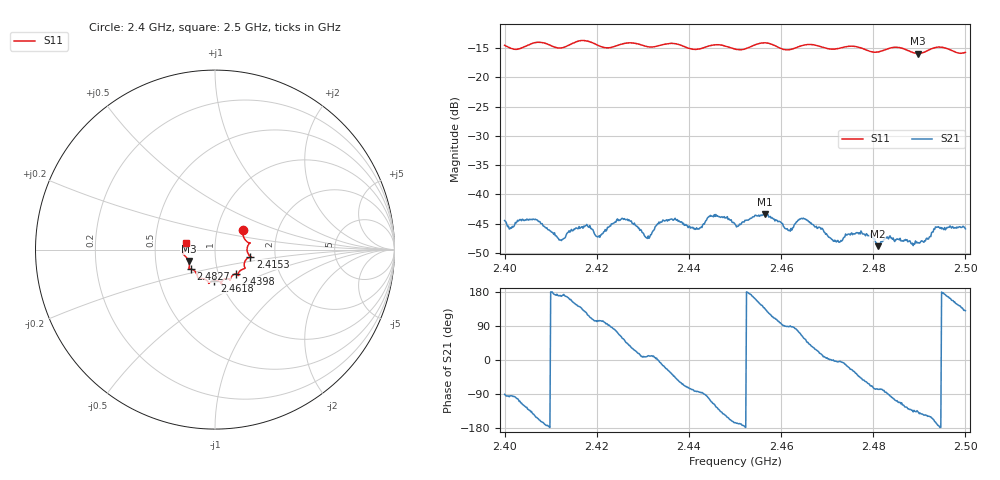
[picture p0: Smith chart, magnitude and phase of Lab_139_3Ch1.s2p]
# Hz S RI R 50
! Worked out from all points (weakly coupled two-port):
!   601 points, 2.4 GHz to 2.5 GHz, reference 50 ohm
!   highest |S21| = -43.42 dB at 2.4565 GHz (marker M1); lowest = -48.9 dB at 2.481 GHz (marker M2)
!   lowest |S11| = -15.9 dB at 2.4897 GHz (marker M3), VSWR 1.38, Z = 36.9 - j4.83 ohm
!   |S11| at or under -10 dB: start of sweep to end of sweep
!   S12 and S22 are empty: the file has one direction only
!   S11 on the Smith chart (normalised r, x): 2.4 GHz: 1.33, +0.30; 2.4153 GHz: 1.48, -0.12; 2.4398 GHz: 1.21, -0.34; 2.4618 GHz: 0.94, -0.33; 2.4827 GHz: 0.75, -0.17; 2.5 GHz: 0.72, +0.06
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2.4e9  0.1552 0.1071  -6.77e-05 -0.00598  0 0  0 0
2.406667e9  0.1952 0.0374  -0.00527 -0.00315  0 0  0 0
2.412167e9  0.1786 -0.00239  -0.00401 0.000692  0 0  0 0
2.415333e9  0.1967 -0.0395  -0.00431 0.00273  0 0  0 0
2.416667e9  0.2024 -0.0435  -0.00387 0.00358  0 0  0 0
2.420333e9  0.1816 -0.0479  -0.000959 0.00424  0 0  0 0
2.426e9  0.167 -0.1017  0.00377 0.00493  0 0  0 0
2.431e9  0.1425 -0.1154  0.00414 0.000703  0 0  0 0
2.433333e9  0.1297 -0.1337  0.00561 -2.48e-05  0 0  0 0
2.439833e9  0.1155 -0.1358  0.00159 -0.00496  0 0  0 0
2.445667e9  0.0841 -0.1704  -0.00318 -0.00565  0 0  0 0
2.45e9  0.0653 -0.1623  -0.00538 -0.00142  0 0  0 0
2.4565e9  0.0389 -0.194  -0.00478 0.00476  0 0  0 0
2.461833e9  -0.00329 -0.1729  0.000128 0.00494  0 0  0 0
2.466667e9  -0.0349 -0.1878  0.0045 0.00327  0 0  0 0
2.4715e9  -0.0644 -0.1623  0.00397 -0.000192  0 0  0 0
2.477e9  -0.0965 -0.1529  0.0034 -0.00323  0 0  0 0
2.481e9  -0.1186 -0.1149  0.000786 -0.00352  0 0  0 0
2.482667e9  -0.1348 -0.1087  0.00035 -0.00426  0 0  0 0
2.483333e9  -0.14 -0.1083  -0.000102 -0.00416  0 0  0 0
2.489667e9  -0.1467 -0.0637  -0.00277 -0.00267  0 0  0 0
2.5e9  -0.1596 0.0385  -0.00327 0.00389  0 0  0 0
